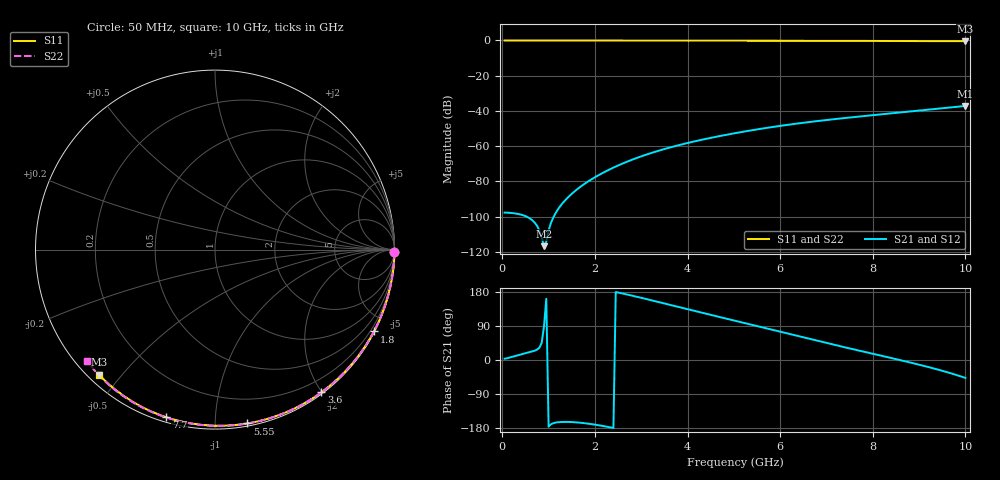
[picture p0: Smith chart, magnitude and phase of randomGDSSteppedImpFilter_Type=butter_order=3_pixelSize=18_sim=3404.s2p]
! freq	dB(S11)	phase(S11)	dB(S12)	phase(S12)
!  dB(S21)	phase(S21)	dB(S22)	phase(S22)
!S-par simulation data
#  GHz  S  DB  R 50
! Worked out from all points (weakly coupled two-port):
!   200 points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, 50 MHz to 10 GHz, reference 50 ohm
!   highest |S21| = -37.17 dB at 10 GHz (marker M1); lowest = -116.8 dB at 900 MHz (marker M2)
!   lowest |S11| = -0.4 dB at 10 GHz (marker M3), VSWR 39.67, Z = 1.5 - j21.8 ohm
!   |S11| at or under -10 dB: nowhere
!   |S22| runs from -0.5 to 0.0 dB; largest |S21 - S12| = 0
!   S11 on the Smith chart (normalised r, x): 50 MHz: open; 1.8 GHz: 0.04, -4.13; 3.6 GHz: 0.02, -1.99; 5.55 GHz: 0.02, -1.20; 7.7 GHz: 0.02, -0.75; 10 GHz: 0.03, -0.44
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0.05  -0.00 -0.8  -97.72 3.4  -97.72 3.4  -0.00 -0.8
0.45  -0.01 -6.9  -99.24 16.0  -99.24 16.0  -0.00 -7.2
0.9  -0.02 -13.8  -116.78 88.0  -116.78 88.0  -0.01 -14.4
1.75  -0.03 -26.5  -81.87 -166.4  -81.87 -166.4  -0.04 -27.7
1.8  -0.03 -27.2  -80.96 -167.1  -80.96 -167.1  -0.04 -28.5
1.85  -0.04 -28.0  -80.10 -167.9  -80.10 -167.9  -0.04 -29.3
2.05  -0.04 -30.9  -76.91 -171.5  -76.91 -171.5  -0.04 -32.4
2.25  -0.04 -33.9  -74.09 -175.8  -74.09 -175.8  -0.05 -35.4
2.65  -0.05 -39.7  -69.29 174.0  -69.29 174.0  -0.05 -41.5
3  -0.06 -44.8  -65.79 164.1  -65.79 164.1  -0.06 -46.8
3.4  -0.07 -50.5  -62.40 152.2  -62.40 152.2  -0.07 -52.7
3.6  -0.07 -53.3  -60.91 146.1  -60.91 146.1  -0.07 -55.7
3.9  -0.08 -57.4  -58.86 137.1  -58.86 137.1  -0.08 -60.0
4.3  -0.09 -62.9  -56.42 125.1  -56.42 125.1  -0.09 -65.7
5.05  -0.11 -73.0  -52.52 102.8  -52.52 102.8  -0.12 -76.2
5.55  -0.13 -79.5  -50.29 88.0  -50.29 88.0  -0.14 -83.0
6.1  -0.15 -86.6  -48.12 71.6  -48.12 71.6  -0.16 -90.4
6.7  -0.18 -94.0  -46.08 53.7  -46.08 53.7  -0.19 -98.2
7.7  -0.24 -106.2  -43.21 24.9  -43.21 24.9  -0.25 -110.8
8.35  -0.29 -113.8  -41.50 6.6  -41.50 6.6  -0.30 -118.9
9.2  -0.36 -123.7  -39.24 -18.6  -39.24 -18.6  -0.39 -129.2
10  -0.44 -132.9  -37.17 -47.2  -37.17 -47.2  -0.48 -138.8
